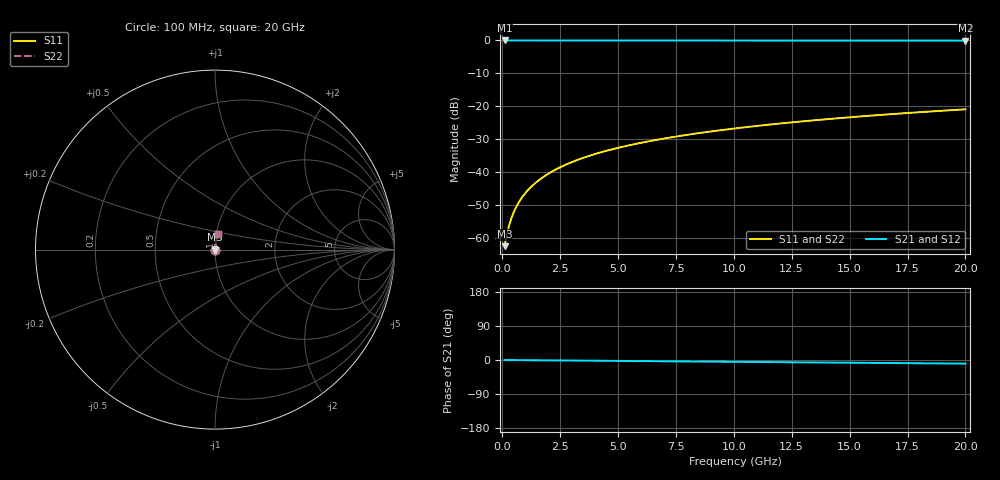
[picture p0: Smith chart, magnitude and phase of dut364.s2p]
! Touchstone file exported from HFSS 2026.1.0
!  File:  C:/ffzhzh/LocalFiles/Ansys_Project_Files/temp_train_TSV_364_1783019415_51716.aedt
!  Generated:  03:12:37 AM Jul  3, 2026
!  Design:  TSV
!  Project:  temp_train_TSV_364_1783019415_51716
! Variables:
!  h_bsmrdl = 2um
!  h_ox = 20um
!  h_rdl = 5um
!  h_sub = 77.95um
!  h_tmrdl = 5um
!  h_tsv = 77.95um
!  h_via = 3um
!  l_bsmrdl = 300um
!  l_sub = 408.16um
!  l_tmrdl = 200um
!  m_sub = 200um
!  pitch = 42.71um
!  r_tsv = 4.08um
!  s_tmrdl = 10um
!  w_bsmrdl = 18um
!  w_sub = 500um
!  w_tmrdl = 12um
!  x_tsv_center1 = 206um
!  x_tsv_center2 = 524um
!  x_tsv_center3 = 736um
!  x_tsv_center4 = 1054um
!  x_tsv_center5 = 1266um
!  x_tsv_center6 = 1584um
# GHz S MA R 50.000000
! Terminal data exported
! Port[1] = TSV1_1_T1
! Port[2] = TSV1_1_T2
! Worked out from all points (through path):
!   200 points, 100 MHz to 20 GHz, reference 50 ohm
!   highest |S21| = 0.00 dB at 100 MHz (marker M1); lowest = -0.1 dB at 20 GHz (marker M2)
!   group delay of S21, straight-line fit = 1.32 ps
!   lowest |S11| = -62.5 dB at 100 MHz (marker M3), VSWR 1.00, Z = 50.1 + j0.049 ohm
!   |S11| at or under -10 dB: start of sweep to end of sweep
!   |S22| runs from -62.5 to -20.9 dB; largest |S21 - S12| = 3.1e-15
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0.1  0.0007474 40.9  0.9994 -0.0  0.9994 -0.0  0.0007474 40.9
! Gamma 0 0 0 0
! Port Impedance 50 0 50 0
0.2  0.001132 59.4  0.9994 -0.1  0.9994 -0.1  0.001132 59.4
0.3  0.00157 67.9  0.9994 -0.1  0.9994 -0.1  0.00157 67.9
0.4  0.002024 72.6  0.9994 -0.2  0.9994 -0.2  0.002024 72.6
0.5  0.002483 75.6  0.9994 -0.2  0.9994 -0.2  0.002483 75.6
0.6  0.002946 77.6  0.9994 -0.3  0.9994 -0.3  0.002946 77.6
0.8  0.003876 80.1  0.9994 -0.4  0.9994 -0.4  0.003876 80.1
1.1  0.005279 82.2  0.9993 -0.5  0.9993 -0.5  0.005279 82.2
1.5  0.007154 83.6  0.9993 -0.7  0.9993 -0.7  0.007154 83.6
1.8  0.00856 84.2  0.9992 -0.9  0.9992 -0.9  0.00856 84.2
2.1  0.009963 84.6  0.9992 -1.0  0.9992 -1.0  0.009963 84.6
2.7  0.01276 84.9  0.9991 -1.3  0.9991 -1.3  0.01276 84.9
3.5  0.01646 84.9  0.9989 -1.7  0.9989 -1.7  0.01646 84.9
4.2  0.01968 84.8  0.9987 -2.0  0.9987 -2.0  0.01968 84.8
5  0.02333 84.6  0.9985 -2.4  0.9985 -2.4  0.02333 84.6
5.9  0.02741 84.4  0.9983 -2.9  0.9983 -2.9  0.02741 84.4
6.8  0.03147 84.1  0.9981 -3.3  0.9981 -3.3  0.03147 84.1
8.3  0.0382 83.6  0.9977 -4.0  0.9977 -4.0  0.0382 83.6
10.1  0.04624 82.9  0.9972 -4.9  0.9972 -4.9  0.04624 82.9
13.4  0.06088 81.7  0.9961 -6.4  0.9961 -6.4  0.06088 81.7
16.7  0.07542 80.3  0.9949 -8.0  0.9949 -8.0  0.07542 80.3
20  0.08984 78.9  0.9935 -9.5  0.9935 -9.5  0.08984 78.9
